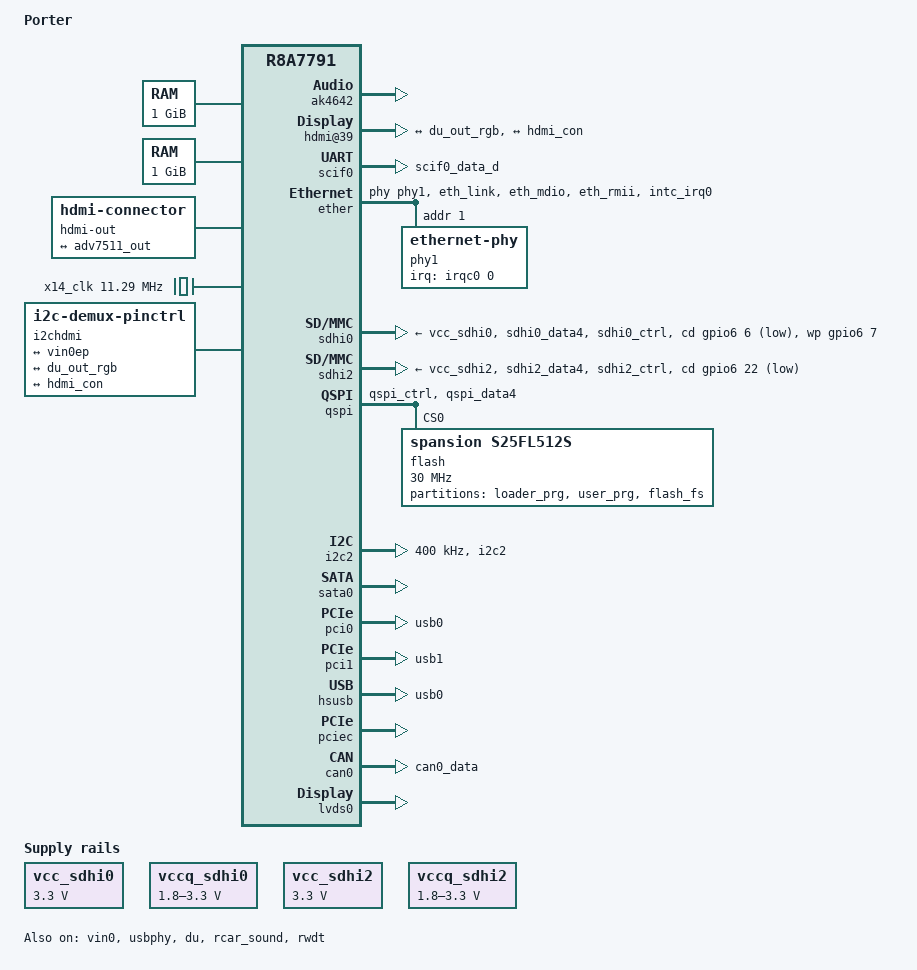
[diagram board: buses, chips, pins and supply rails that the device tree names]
/*
 * Device Tree Source for the Porter board
 *
 * Copyright (C) 2015 Cogent Embedded, Inc.
 *
 * This file is licensed under the terms of the GNU General Public License
 * version 2.  This program is licensed "as is" without any warranty of any
 * kind, whether express or implied.
 */

/*
 * SSI-AK4642
 *
 * JP3: 2-1: AK4642
 *      2-3: ADV7511
 *
 * This command is required before playback/capture:
 *
 *	amixer set "LINEOUT Mixer DACL" on
 */

/dts-v1/;
#include "r8a7791.dtsi"
#include <dt-bindings/gpio/gpio.h>

/ {
	model = "Porter";
	compatible = "renesas,porter", "renesas,r8a7791";

	aliases {
		serial0 = &scif0;
		i2c9 = &gpioi2c2;
		i2c10 = &i2chdmi;
	};

	chosen {
		bootargs = "ignore_loglevel rw root=/dev/nfs ip=dhcp";
		stdout-path = "serial0:115200n8";
	};

	memory@40000000 {
		device_type = "memory";
		reg = <0 0x40000000 0 0x40000000>;
	};

	memory@200000000 {
		device_type = "memory";
		reg = <2 0x00000000 0 0x40000000>;
	};

	vcc_sdhi0: regulator-vcc-sdhi0 {
		compatible = "regulator-fixed";

		regulator-name = "SDHI0 Vcc";
		regulator-min-microvolt = <3300000>;
		regulator-max-microvolt = <3300000>;
		regulator-always-on;
	};

	vccq_sdhi0: regulator-vccq-sdhi0 {
		compatible = "regulator-gpio";

		regulator-name = "SDHI0 VccQ";
		regulator-min-microvolt = <1800000>;
		regulator-max-microvolt = <3300000>;

		gpios = <&gpio2 12 GPIO_ACTIVE_HIGH>;
		gpios-states = <1>;
		states = <3300000 1
			  1800000 0>;
	};

	vcc_sdhi2: regulator-vcc-sdhi2 {
		compatible = "regulator-fixed";

		regulator-name = "SDHI2 Vcc";
		regulator-min-microvolt = <3300000>;
		regulator-max-microvolt = <3300000>;
		regulator-always-on;
	};

	vccq_sdhi2: regulator-vccq-sdhi2 {
		compatible = "regulator-gpio";

		regulator-name = "SDHI2 VccQ";
		regulator-min-microvolt = <1800000>;
		regulator-max-microvolt = <3300000>;

		gpios = <&gpio2 26 GPIO_ACTIVE_HIGH>;
		gpios-states = <1>;
		states = <3300000 1
			  1800000 0>;
	};

	hdmi-out {
		compatible = "hdmi-connector";
		type = "a";

		port {
			hdmi_con: endpoint {
				remote-endpoint = <&adv7511_out>;
			};
		};
	};

	x3_clk: x3-clock {
		compatible = "fixed-clock";
		#clock-cells = <0>;
		clock-frequency = <148500000>;
	};

	x16_clk: x16-clock {
		compatible = "fixed-clock";
		#clock-cells = <0>;
		clock-frequency = <74250000>;
	};

	x14_clk: audio_clock {
		compatible = "fixed-clock";
		#clock-cells = <0>;
		clock-frequency = <11289600>;
	};

	sound {
		compatible = "simple-audio-card";

		simple-audio-card,format = "left_j";
		simple-audio-card,bitclock-master = <&soundcodec>;
		simple-audio-card,frame-master = <&soundcodec>;

		simple-audio-card,cpu {
			sound-dai = <&rcar_sound>;
		};

		soundcodec: simple-audio-card,codec {
			sound-dai = <&ak4642>;
			clocks = <&x14_clk>;
		};
	};

	gpioi2c2: i2c-9 {
		#address-cells = <1>;
		#size-cells = <0>;
		compatible = "i2c-gpio";
		status = "disabled";
		scl-gpios = <&gpio2 6 (GPIO_ACTIVE_HIGH | GPIO_OPEN_DRAIN)>;
		sda-gpios = <&gpio2 7 (GPIO_ACTIVE_HIGH | GPIO_OPEN_DRAIN)>;
		i2c-gpio,delay-us = <5>;
	};

	/*
	 * A fallback to GPIO is provided for I2C2.
	 */
	i2chdmi: i2c-10 {
		compatible = "i2c-demux-pinctrl";
		i2c-parent = <&i2c2>, <&gpioi2c2>;
		i2c-bus-name = "i2c-hdmi";
		#address-cells = <1>;
		#size-cells = <0>;

		ak4642: codec@12 {
			compatible = "asahi-kasei,ak4642";
			#sound-dai-cells = <0>;
			reg = <0x12>;
		};

		composite-in@20 {
			compatible = "adi,adv7180";
			reg = <0x20>;
			remote = <&vin0>;

			port {
				adv7180: endpoint {
					bus-width = <8>;
					remote-endpoint = <&vin0ep>;
				};
			};
		};

		hdmi@39 {
			compatible = "adi,adv7511w";
			reg = <0x39>;
			interrupt-parent = <&gpio3>;
			interrupts = <29 IRQ_TYPE_LEVEL_LOW>;

			adi,input-depth = <8>;
			adi,input-colorspace = "rgb";
			adi,input-clock = "1x";
			adi,input-style = <1>;
			adi,input-justification = "evenly";

			ports {
				#address-cells = <1>;
				#size-cells = <0>;

				port@0 {
					reg = <0>;
					adv7511_in: endpoint {
						remote-endpoint = <&du_out_rgb>;
					};
				};

				port@1 {
					reg = <1>;
					adv7511_out: endpoint {
						remote-endpoint = <&hdmi_con>;
					};
				};
			};
		};
	};
};

&extal_clk {
	clock-frequency = <20000000>;
};

&pfc {
	scif0_pins: scif0 {
		groups = "scif0_data_d";
		function = "scif0";
	};

	ether_pins: ether {
		groups = "eth_link", "eth_mdio", "eth_rmii";
		function = "eth";
	};

	phy1_pins: phy1 {
		groups = "intc_irq0";
		function = "intc";
	};

	sdhi0_pins: sd0 {
		groups = "sdhi0_data4", "sdhi0_ctrl";
		function = "sdhi0";
	};

	sdhi2_pins: sd2 {
		groups = "sdhi2_data4", "sdhi2_ctrl";
		function = "sdhi2";
	};

	qspi_pins: qspi {
		groups = "qspi_ctrl", "qspi_data4";
		function = "qspi";
	};

	i2c2_pins: i2c2 {
		groups = "i2c2";
		function = "i2c2";
	};

	usb0_pins: usb0 {
		groups = "usb0";
		function = "usb0";
	};

	usb1_pins: usb1 {
		groups = "usb1";
		function = "usb1";
	};

	vin0_pins: vin0 {
		groups = "vin0_data8", "vin0_clk";
		function = "vin0";
	};

	can0_pins: can0 {
		groups = "can0_data";
		function = "can0";
	};

	du_pins: du {
		groups = "du_rgb888", "du_sync", "du_disp", "du_clk_out_0";
		function = "du";
	};

	ssi_pins: sound {
		groups = "ssi0129_ctrl", "ssi0_data", "ssi1_data";
		function = "ssi";
	};

	audio_clk_pins: audio_clk {
		groups = "audio_clk_a";
		function = "audio_clk";
	};
};

&scif0 {
	pinctrl-0 = <&scif0_pins>;
	pinctrl-names = "default";

	status = "okay";
};

&ether {
	pinctrl-0 = <&ether_pins &phy1_pins>;
	pinctrl-names = "default";

	phy-handle = <&phy1>;
	renesas,ether-link-active-low;
	status = "okay";

	phy1: ethernet-phy@1 {
		reg = <1>;
		interrupt-parent = <&irqc0>;
		interrupts = <0 IRQ_TYPE_LEVEL_LOW>;
		micrel,led-mode = <1>;
	};
};

&sdhi0 {
	pinctrl-0 = <&sdhi0_pins>;
	pinctrl-names = "default";

	vmmc-supply = <&vcc_sdhi0>;
	vqmmc-supply = <&vccq_sdhi0>;
	cd-gpios = <&gpio6 6 GPIO_ACTIVE_LOW>;
	wp-gpios = <&gpio6 7 GPIO_ACTIVE_HIGH>;
	status = "okay";
};

&sdhi2 {
	pinctrl-0 = <&sdhi2_pins>;
	pinctrl-names = "default";

	vmmc-supply = <&vcc_sdhi2>;
	vqmmc-supply = <&vccq_sdhi2>;
	cd-gpios = <&gpio6 22 GPIO_ACTIVE_LOW>;
	status = "okay";
};

&qspi {
	pinctrl-0 = <&qspi_pins>;
	pinctrl-names = "default";

	status = "okay";

	flash@0 {
		compatible = "spansion,s25fl512s", "jedec,spi-nor";
		reg = <0>;
		spi-max-frequency = <30000000>;
		spi-tx-bus-width = <4>;
		spi-rx-bus-width = <4>;
		m25p,fast-read;

		partitions {
			compatible = "fixed-partitions";
			#address-cells = <1>;
			#size-cells = <1>;

			partition@0 {
				label = "loader_prg";
				reg = <0x00000000 0x00040000>;
				read-only;
			};
			partition@40000 {
				label = "user_prg";
				reg = <0x00040000 0x00400000>;
				read-only;
			};
			partition@440000 {
				label = "flash_fs";
				reg = <0x00440000 0x03bc0000>;
			};
		};
	};
};

&i2c2 {
	pinctrl-0 = <&i2c2_pins>;
	pinctrl-names = "i2c-hdmi";

	clock-frequency = <400000>;
};

&sata0 {
	status = "okay";
};

/* composite video input */
&vin0 {
	status = "okay";
	pinctrl-0 = <&vin0_pins>;
	pinctrl-names = "default";

	port {
		vin0ep: endpoint {
			remote-endpoint = <&adv7180>;
			bus-width = <8>;
		};
	};
};

&pci0 {
	pinctrl-0 = <&usb0_pins>;
	pinctrl-names = "default";

	status = "okay";
};

&pci1 {
	pinctrl-0 = <&usb1_pins>;
	pinctrl-names = "default";

	status = "okay";
};

&hsusb {
	pinctrl-0 = <&usb0_pins>;
	pinctrl-names = "default";

	status = "okay";
};

&usbphy {
	status = "okay";
};

&pcie_bus_clk {
	clock-frequency = <100000000>;
};

&pciec {
	status = "okay";
};

&can0 {
	pinctrl-0 = <&can0_pins>;
	pinctrl-names = "default";

	status = "okay";
};

&du {
	pinctrl-0 = <&du_pins>;
	pinctrl-names = "default";
	status = "okay";

	clocks = <&cpg CPG_MOD 724>, <&cpg CPG_MOD 723>,
		 <&x3_clk>, <&x16_clk>;
	clock-names = "du.0", "du.1", "dclkin.0", "dclkin.1";

	ports {
		port@0 {
			endpoint {
				remote-endpoint = <&adv7511_in>;
			};
		};
	};
};

&lvds0 {
	status = "okay";

	ports {
		port@1 {
			lvds_connector: endpoint {
			};
		};
	};
};

&rcar_sound {
	pinctrl-0 = <&ssi_pins &audio_clk_pins>;
	pinctrl-names = "default";
	status = "okay";

	/* Single DAI */
	#sound-dai-cells = <0>;

	rcar_sound,dai {
		dai0 {
			playback = <&ssi0>;
			capture  = <&ssi1>;
		};
	};
};

&rwdt {
	timeout-sec = <60>;
	status = "okay";
};

&ssi1 {
	shared-pin;
};
